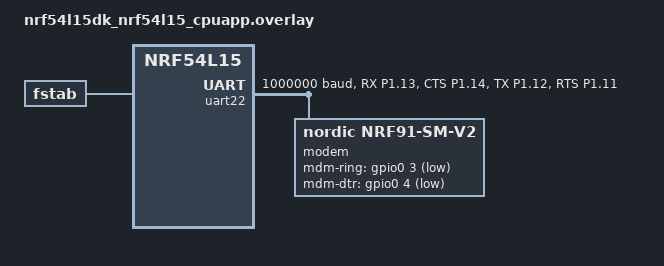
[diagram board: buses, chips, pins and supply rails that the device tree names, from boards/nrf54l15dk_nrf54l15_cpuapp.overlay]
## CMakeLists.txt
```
#
# Copyright (c) 2025 Nordic Semiconductor ASA
#
# SPDX-License-Identifier: LicenseRef-Nordic-5-Clause
#

cmake_minimum_required(VERSION 3.20.0)

find_package(Zephyr REQUIRED HINTS $ENV{ZEPHYR_BASE})
project(app)

target_sources(app PRIVATE
	src/main.c
	src/at_shell.c
	src/dl_shell.c
	src/periodic_http.c
	src/v2_power_profile.c
)
```

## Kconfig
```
# Copyright (c) 2026 Nordic Semiconductor ASA
# SPDX-License-Identifier: LicenseRef-Nordic-5-Clause

mainmenu "Serial Modem v2 periodic HTTP power test"

config HTTP_TEST_INTERVAL_SECONDS
	int "HTTP request start-to-start interval in seconds"
	range 1 86400
	default 60
	help
	  Time from the start of one request to the start of the next request.

choice HOST_POWER_PROFILE
	prompt "Initial host-controlled cellular power profile"
	default HOST_POWER_PROFILE_NONE

config HOST_POWER_PROFILE_NONE
	bool "Leave PSM and eDRX unchanged"
	help
	  Do not change PSM or eDRX at startup. The runtime power_profile shell
	  command remains available.

config HOST_POWER_PROFILE_REGISTERED
	bool "Registered with PSM and eDRX disabled"

config HOST_POWER_PROFILE_PSM
	bool "PSM requested with eDRX disabled"

config HOST_POWER_PROFILE_EDRX
	bool "eDRX requested with PSM disabled"

config HOST_POWER_PROFILE_PSM_EDRX
	bool "PSM and eDRX requested"

endchoice

config HOST_POWER_PROFILE_PSM_TAU
	string "Requested periodic TAU as a GPRS Timer 3 bit string"
	default "00100001"

config HOST_POWER_PROFILE_PSM_ACTIVE_TIME
	string "Requested Active-Time as a GPRS Timer 2 bit string"
	default "00000000"

config HOST_POWER_PROFILE_EDRX_ACT_TYPE
	int "eDRX access technology (4=LTE-M, 5=NB-IoT, 6=NTN NB-IoT)"
	range 4 6
	default 4

config HOST_POWER_PROFILE_EDRX_VALUE
	string "Requested four-bit eDRX value"
	default "0011"

source "Kconfig.zephyr"
```

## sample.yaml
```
sample:
  description: Serial Modem v2 PPP example with periodic HTTP and power-profile testing
  name: PPP shell and power test
tests:
  sample.sm_ppp_shell:
    sysbuild: true
    build_only: true
    platform_allow:
      - nrf54l15dk/nrf54l15/cpuapp
      - native_sim
    integration_platforms:
      - nrf54l15dk/nrf54l15/cpuapp
      - native_sim
```

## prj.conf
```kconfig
#
# Copyright (c) 2025 Nordic Semiconductor ASA
#
# SPDX-License-Identifier: LicenseRef-Nordic-5-Clause
#

# Networking
CONFIG_NETWORKING=y
CONFIG_NET_NATIVE=y
CONFIG_NET_L2_PPP=y
CONFIG_NET_L2_ETHERNET=n
CONFIG_NET_IPV4=y
CONFIG_NET_IPV6=y
CONFIG_NET_UDP=y
CONFIG_NET_TCP=y
CONFIG_NET_SOCKETS=y
CONFIG_NET_CONTEXT_RCVTIMEO=y
CONFIG_ZVFS_POLL_MAX=20
CONFIG_ZVFS_OPEN_MAX=20
CONFIG_POSIX_API=y
CONFIG_TEST_RANDOM_GENERATOR=y
CONFIG_NET_ZPERF=n
CONFIG_NET_PKT_RX_COUNT=40
CONFIG_NET_PKT_TX_COUNT=40
CONFIG_NET_BUF_RX_COUNT=80
CONFIG_NET_BUF_TX_COUNT=80
CONFIG_NET_BUF_DATA_SIZE=256

# DNS
CONFIG_DNS_RESOLVER=y
CONFIG_DNS_RESOLVER_MAX_SERVERS=4
CONFIG_NET_L2_PPP_OPTION_DNS_USE=y

# Network management
CONFIG_NET_MGMT=y
CONFIG_NET_MGMT_EVENT=y
CONFIG_NET_CONNECTION_MANAGER=y

# Modem driver
CONFIG_MODEM=y
CONFIG_MODEM_CELLULAR=y
CONFIG_PM_DEVICE=y
CONFIG_PM_DEVICE_RUNTIME=y
CONFIG_PM_DEVICE_RUNTIME_USE_DEDICATED_WQ=y

# Tune CMUX buffers
# MTU 127 and header size 6 means one full frame is 133 bytes
# Use 32 full CMUX frames for CMUX buffer and 4 frames for UART buffer
CONFIG_MODEM_CMUX_MTU=127
CONFIG_MODEM_CMUX_WORK_BUFFER_SIZE_EXTRA=4256
CONFIG_MODEM_CELLULAR_UART_BUFFER_SIZES=532
CONFIG_MODEM_CMUX_MSC_FC_THRESHOLD=127


# Serial Modem libraries
CONFIG_SM_XDFU_LIB=y
CONFIG_ZCBOR=y

# Shell utilities
CONFIG_SHELL=y
CONFIG_SHELL_WILDCARD=n
CONFIG_NET_SHELL=y
CONFIG_PM_DEVICE_SHELL=y
CONFIG_NET_MGMT_EVENT_MONITOR=y
CONFIG_NET_MGMT_EVENT_MONITOR_AUTO_START=y
CONFIG_SHELL_CMD_BUFF_SIZE=4096
# The xdfu shell command runs the full AT#XDFU chat-script/pipe-transfer
# sequence directly on the shell thread; the default stack is too small
# for that call depth and overflows.
CONFIG_SHELL_STACK_SIZE=4096
CONFIG_MODEM_CELLULAR_USER_PIPE_BUFFER_SIZES=4096
CONFIG_DOWNLOADER=y
CONFIG_DOWNLOADER_STACK_SIZE=2048

# Periodic HTTP requests from the Zephyr host.
CONFIG_HTTP_CLIENT=y
CONFIG_NET_SOCKETS_CONNECT_TIMEOUT=15000
CONFIG_NET_SOCKETS_DNS_TIMEOUT=5000
CONFIG_HTTP_TEST_INTERVAL_SECONDS=60

# Logging
CONFIG_LOG=y
CONFIG_MODEM_LOG_LEVEL_DBG=y
CONFIG_MODEM_CMUX_LOG_LEVEL_DBG=y
CONFIG_NET_SOCKETS_LOG_LEVEL_ERR=y

# Enable immediate logging to see the log messages with DFU
# Not recommended for production.
CONFIG_LOG_MODE_IMMEDIATE=y

# Additional logging for seeing URCs
#CONFIG_MODEM_MODULES_LOG_LEVEL_DBG=y
```

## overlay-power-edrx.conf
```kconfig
# Copyright (c) 2026 Nordic Semiconductor ASA
# SPDX-License-Identifier: LicenseRef-Nordic-5-Clause

CONFIG_HOST_POWER_PROFILE_EDRX=y
```

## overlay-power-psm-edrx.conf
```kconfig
# Copyright (c) 2026 Nordic Semiconductor ASA
# SPDX-License-Identifier: LicenseRef-Nordic-5-Clause

CONFIG_HOST_POWER_PROFILE_PSM_EDRX=y
```

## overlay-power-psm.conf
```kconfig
# Copyright (c) 2026 Nordic Semiconductor ASA
# SPDX-License-Identifier: LicenseRef-Nordic-5-Clause

CONFIG_HOST_POWER_PROFILE_PSM=y
```

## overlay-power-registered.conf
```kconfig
# Copyright (c) 2026 Nordic Semiconductor ASA
# SPDX-License-Identifier: LicenseRef-Nordic-5-Clause

CONFIG_HOST_POWER_PROFILE_REGISTERED=y
```

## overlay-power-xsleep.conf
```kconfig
# Host-only Serial Modem XSLEEP measurement profile.
CONFIG_HOST_POWER_PROFILE_XSLEEP=y
```

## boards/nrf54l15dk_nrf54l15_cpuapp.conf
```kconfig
#
# Copyright (c) 2025 Nordic Semiconductor ASA
#
# SPDX-License-Identifier: LicenseRef-Nordic-5-Clause
#

# Ensure the use of the DTS partitions
CONFIG_USE_DT_CODE_PARTITION=y

# Modem UART uses async API; shell UART uses interrupt-driven.
CONFIG_UART_ASYNC_API=y
CONFIG_MODEM_BACKEND_UART_ASYNC_HWFC=y
CONFIG_MODEM_BACKEND_UART_ISR=n
# uart22 = modem; must not be interrupt-driven so UART_22_ASYNC is unblocked.
CONFIG_UART_22_INTERRUPT_DRIVEN=n
CONFIG_SHELL_BACKEND_SERIAL_API_INTERRUPT_DRIVEN=y
CONFIG_SHELL_BACKEND_SERIAL_RX_RING_BUFFER_SIZE=4096

# For debugging purposes, enable GPIO shell commands.
CONFIG_GPIO=y
CONFIG_GPIO_SHELL=y

# Use LittleFS for file system support.
CONFIG_FLASH=y
CONFIG_FILE_SYSTEM=y
CONFIG_FILE_SYSTEM_SHELL=y
CONFIG_FILE_SYSTEM_LITTLEFS=y
CONFIG_FLASH_MAP=y
```

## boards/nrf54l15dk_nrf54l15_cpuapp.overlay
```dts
/*
 * Copyright (c) 2025 Nordic Semiconductor ASA
 *
 * SPDX-License-Identifier: LicenseRef-Nordic-5-Clause
 */


/*
 * See nRF54L15DK GPIO documentation from
 * https://docs.nordicsemi.com/bundle/ug_nrf54l15_dk/page/UG/nRF54L15_DK/hw_desription/connector_if.html
 *
 * UART22 is used for Serial Modem communication with the same pinout as the
 * OSS_ZEPHYR host application. UART20 remains routed to VCOM1 for console/shell.
 */

/ {
	chosen {
		/* Switch console to uart20 */
		zephyr,console = &uart20;
		zephyr,shell-uart = &uart20;
	};
	aliases {
		modem = &modem;
	};
};

&pinctrl {
	uart22_modem_default: uart22_modem_default {
		group1 {
			psels = <NRF_PSEL(UART_RX, 1, 13)>,
				<NRF_PSEL(UART_CTS, 1, 14)>;
			bias-pull-up;
		};

		group2 {
			psels = <NRF_PSEL(UART_TX, 1, 12)>,
				<NRF_PSEL(UART_RTS, 1, 11)>;
		};
	};

	uart22_modem_sleep: uart22_modem_sleep {
		group1 {
			psels = <NRF_PSEL(UART_TX, 1, 12)>,
				<NRF_PSEL(UART_RX, 1, 13)>,
				<NRF_PSEL(UART_RTS, 1, 11)>,
				<NRF_PSEL(UART_CTS, 1, 14)>;
			low-power-enable;
		};
	};
};

/* These board resources conflict with the OSS_ZEPHYR modem wiring. */
&button0 {
	status = "disabled";
};

&button3 {
	status = "disabled";
};

&led3 {
	status = "disabled";
};

&uart30 {
	status = "disabled";
};

/* Zephyr modem UART <-> nRF91 Serial Modem UART */
&uart22 {
	status = "okay";
	current-speed = <1000000>;
	hw-flow-control;
	pinctrl-0 = <&uart22_modem_default>;
	pinctrl-1 = <&uart22_modem_sleep>;
	pinctrl-names = "default", "sleep";
	zephyr,pm-device-runtime-auto;

	/* Nordic nRF91 Serial Modem configuration */
	modem: modem {
		compatible = "nordic,nrf91-sm-v2";
		status = "okay";
		mdm-ring-gpios = <&gpio0 3 (GPIO_ACTIVE_LOW | GPIO_PULL_UP)>;
		mdm-dtr-gpios = <&gpio0 4 GPIO_ACTIVE_LOW>;
		zephyr,pm-device-runtime-auto;
		cmux-enable-runtime-power-save;
		cmux-close-pipe-on-power-save;
		cmux-idle-timeout-ms = <5000>;
		autostarts;
	};
};

&gpio0 {
	status = "okay";
};

/* Using default SRAM partitions from nrf54l15_cpuapp_partition.dtsi */

/*
 * RRAM partition layout for nRF54L15 DK (disable MCUboot)
 *
 * 0x0000_0000  slot0 (primary app)          (1492 kB)
 * 0x0017_5000  Non-secure storage           ( 32 kB)
 */

/delete-node/ &boot_partition;
/delete-node/ &slot0_partition;
/delete-node/ &slot1_partition;
/delete-node/ &storage_partition;

&cpuapp_rram {
	partitions {
		slot0_partition: partition@0 {
			compatible = "zephyr,mapped-partition";
			label = "image-0";
			reg = <0x0 DT_SIZE_K(1492)>;
		};

		storage_partition: partition@175000 {
			compatible = "zephyr,mapped-partition";
			label = "storage";
			reg = <0x000175000 DT_SIZE_K(32)>;
		};
	};
};

/*
 * Use external flash for littlefs storage.
 */
/ {
	fstab {
		compatible = "zephyr,fstab";

		lfs: lfs {
			compatible = "zephyr,fstab,littlefs";
			mount-point = "/lfs";
			partition = <&lfs_part>;
			automount;
			read-size = <16>;
			prog-size = <16>;
			cache-size = <64>;
			lookahead-size = <32>;
			block-cycles = <512>;
		};
	};
};

&mx25r64 {
	partitions {
		compatible = "fixed-partitions";
		#address-cells = <1>;
		#size-cells = <1>;

		lfs_part: partition@0 {
			label = "littlefs";
			reg = <0x00000000 DT_SIZE_M(8)>;
		};
	};
};
```

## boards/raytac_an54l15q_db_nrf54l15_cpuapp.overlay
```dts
/*
 * Copyright (c) 2025 Nordic Semiconductor ASA
 *
 * SPDX-License-Identifier: LicenseRef-Nordic-5-Clause
 */


/*
 * See nRF54L15DK GPIO documentation from
 * https://docs.nordicsemi.com/bundle/ug_nrf54l15_dk/page/UG/nRF54L15_DK/hw_desription/connector_if.html
 *
 * UART0 is used for Serial Modem communication and UART1 is used for console/shell.
 *
 * Note: Disable VCOM0 from Board Configurator to release UART0 for Serial Modem.
 *
 * UART0 located on the P0 connector is the "uart30" instance in the device tree.
 * UART1 is "uart20" in the device tree and it is routed to the VCOM1 on the interface chip.
 * RI and DTR signals are located on P1 connector.
 */

/ {
	chosen {
		/* Switch console to uart20 */
		zephyr,console = &uart20;
		zephyr,shell-uart = &uart20;
		ncs,sm-uart = &uart30;
	};

	dte_dtr: dte_dtr {
		compatible = "nordic,dte-dtr";
		dtr-gpios = <&gpio1 11 GPIO_ACTIVE_LOW>;
		ri-gpios = <&gpio1 12 (GPIO_ACTIVE_LOW | GPIO_PULL_UP)>;
	};
};

/* Zephyr modem UART <-> nRF91 Serial Modem UART */
&uart30 {
	status = "okay";
	current-speed = <115200>;
	hw-flow-control;
	zephyr,pm-device-runtime-auto;

	/* Nordic nRF91 Serial Modem configuration */
	modem: modem {
		compatible = "nordic,nrf91-slm";
		status = "okay";
		mdm-ring-gpios = <&gpio1 12 (GPIO_ACTIVE_LOW | GPIO_PULL_UP)>;
		mdm-dtr-gpios = <&gpio1 11 GPIO_ACTIVE_LOW>;
		zephyr,pm-device-runtime-auto;
		cmux-enable-runtime-power-save;
		cmux-close-pipe-on-power-save;
		cmux-idle-timeout-ms = <5000>;
	};
};

&gpio1 {
	status = "okay";
};
```

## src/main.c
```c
/*
 * Copyright (c) 2025 Nordic Semiconductor ASA
 *
 * SPDX-License-Identifier: LicenseRef-Nordic-5-Clause
 */
#include <errno.h>
#include <time.h>
#include <zephyr/kernel.h>
#include <zephyr/logging/log.h>
#include <zephyr/net/http/client.h>
#include <zephyr/net/net_if.h>
#include <zephyr/net/ppp.h>
#include <zephyr/net/sntp.h>
#include <zephyr/net/socket.h>
#include <zephyr/net/tls_credentials.h>
#include "httpbin_ca.h"
#include "host_power_profile.h"

LOG_MODULE_REGISTER(https_test, LOG_LEVEL_INF);

#define HOST "httpbin.org"
#define CA_TAG 42
#define IO_TIMEOUT_MS 15000
#define SNTP_TIMEOUT_MS 5000
#define MODEM_BOOT_DELAY_SECONDS 2
#define PPP_START_TIMEOUT_SECONDS 180
#define PPP_RESTART_DELAY_SECONDS 2

struct request_result {
	size_t bytes;
	uint16_t status;
	bool complete;
};

static uint8_t response_buffer[1024];

static bool connected(struct net_if *iface)
{
	return net_if_is_up(iface) && net_if_is_carrier_ok(iface) &&
	       net_if_ipv4_get_global_addr(iface, NET_ADDR_PREFERRED) != NULL;
}

static int response_cb(struct http_response *rsp, enum http_final_call final,
		       void *user_data)
{
	struct request_result *result = user_data;

	result->status = rsp->http_status_code;
	result->bytes += rsp->body_frag_len;
	result->complete = final == HTTP_DATA_FINAL && rsp->message_complete;
	return 0;
}

static int synchronize_time(void)
{
	struct sntp_time now;
	struct zsock_addrinfo hints = {
		.ai_family = AF_INET, .ai_socktype = SOCK_DGRAM,
	};
	struct zsock_addrinfo *address = NULL;
	int ret = zsock_getaddrinfo("time.google.com", "123", &hints, &address);

	if (ret != 0) {
		return -EHOSTUNREACH;
	}
	ret = sntp_simple_addr(address->ai_addr, address->ai_addrlen,
			       SNTP_TIMEOUT_MS, &now);
	zsock_freeaddrinfo(address);

	if (ret < 0) {
		return ret;
	}
	struct timespec ts = {.tv_sec = now.seconds, .tv_nsec = 0};

	if (clock_settime(CLOCK_REALTIME, &ts) < 0) {
		return -errno;
	}
	LOG_INF("Time synchronized; certificate date checking enabled");
	return 0;
}

static int request_once(struct request_result *result)
{
	struct zsock_addrinfo hints = {
		.ai_family = AF_INET, .ai_socktype = SOCK_STREAM,
	};
	struct zsock_addrinfo *addresses = NULL;
	const sec_tag_t tags[] = {CA_TAG};
	const char *headers[] = {"Connection: close\r\n", "Accept: application/json\r\n", NULL};
	struct zsock_timeval timeout = {.tv_sec = IO_TIMEOUT_MS / 1000};
	int verify = TLS_PEER_VERIFY_REQUIRED;
	int ret = zsock_getaddrinfo(HOST, "443", &hints, &addresses);
	int fd = -1;

	if (ret != 0) {
		LOG_WRN("DNS lookup failed: %d", ret);
		return -EHOSTUNREACH;
	}
	fd = zsock_socket(AF_INET, SOCK_STREAM, IPPROTO_TLS_1_2);
	if (fd < 0) {
		ret = -errno;
		goto out;
	}
	if (zsock_setsockopt(fd, SOL_TLS, TLS_SEC_TAG_LIST, tags, sizeof(tags)) < 0 ||
		zsock_setsockopt(fd, SOL_TLS, TLS_HOSTNAME, HOST, sizeof(HOST) - 1) < 0 ||
		zsock_setsockopt(fd, SOL_TLS, TLS_PEER_VERIFY, &verify, sizeof(verify)) < 0 ||
		zsock_setsockopt(fd, SOL_SOCKET, SO_SNDTIMEO, &timeout, sizeof(timeout)) < 0 ||
		zsock_setsockopt(fd, SOL_SOCKET, SO_RCVTIMEO, &timeout, sizeof(timeout)) < 0) {
		ret = -errno;
		goto out;
	}
	if (zsock_connect(fd, addresses->ai_addr, addresses->ai_addrlen) < 0) {
		ret = -errno;
		LOG_WRN("TCP/TLS connection failed: %d", ret);
		goto out;
	}
	struct http_request req = {
		.method = HTTP_GET, .url = "/get", .host = HOST,
		.protocol = "HTTP/1.1", .header_fields = headers,
		.response = response_cb, .recv_buf = response_buffer,
		.recv_buf_len = sizeof(response_buffer),
	};

	ret = http_client_req(fd, &req, IO_TIMEOUT_MS, result);
	if (ret >= 0) {
		ret = result->status == 200 && result->complete ? 0 : -EBADMSG;
	}
out:
	if (fd >= 0) {
		zsock_close(fd);
	}
	zsock_freeaddrinfo(addresses);
	return ret;
}

static int start_ppp(struct net_if *iface)
{
	int ret = net_if_up(iface);

	if (ret < 0 && ret != -EALREADY) {
		LOG_ERR("Cannot start PPP: %d", ret);
		return ret;
	}

	return 0;
}

static int restart_ppp(struct net_if *iface)
{
	int ret;

	LOG_WRN("PPP has no IPv4 after %d seconds; restarting interface",
		PPP_START_TIMEOUT_SECONDS);
	ret = net_if_down(iface);
	if (ret < 0 && ret != -EALREADY) {
		LOG_WRN("Cannot stop PPP for recovery: %d", ret);
	}
	k_sleep(K_SECONDS(PPP_RESTART_DELAY_SECONDS));
	return start_ppp(iface);
}

static int sleep_until_next_cycle(struct net_if *iface, int64_t deadline)
{
	int ret = net_if_down(iface);

	if (ret < 0 && ret != -EALREADY) {
		LOG_ERR("Cannot suspend PPP for XSLEEP: %d", ret);
		return ret;
	}

	LOG_INF("PPP suspended; host shutdown script requested");
	while (true) {
		int64_t remaining = deadline - k_uptime_get();

		if (remaining <= 0) {
			break;
		}
		k_sleep(K_MSEC(MIN(remaining, 1000)));
	}

	LOG_INF("Sleep deadline reached; resuming PPP and waking Serial Modem with DTR");
	return start_ppp(iface);
}

static void https_worker(void *a, void *b, void *c)
{
	ARG_UNUSED(a);
	ARG_UNUSED(b);
	ARG_UNUSED(c);
	struct net_if *iface = net_if_get_first_by_type(&NET_L2_GET_NAME(PPP));
	const int64_t interval = (int64_t)CONFIG_HTTPS_TEST_INTERVAL_SECONDS * 1000;
	bool time_ready = false;
	const bool sleep_between_cycles =
		host_power_profile_suspends_between_cycles();
	uint32_t cycle = 0;
	int64_t next = 0;
	int64_t ppp_started;
	int ret;

	if (iface == NULL) {
		LOG_ERR("No PPP interface: check the board modem overlay");
		return;
	}
	ret = tls_credential_add(CA_TAG, TLS_CREDENTIAL_CA_CERTIFICATE,
							 httpbin_ca, sizeof(httpbin_ca));
	if (ret < 0) {
		LOG_ERR("Cannot install CA certificate: %d", ret);
		return;
	}
	net_if_set_default(iface);
	/* On simultaneous board power-up, let Serial Modem advertise Ready before
	 * the cellular driver sends its first AT command. */
	k_sleep(K_SECONDS(MODEM_BOOT_DELAY_SECONDS));
	ret = host_power_profile_apply(iface);
	if (ret < 0) {
		LOG_ERR("Cannot apply host power profile: %d", ret);
		return;
	}
	ret = start_ppp(iface);
	if (ret < 0) {
		return;
	}
	ppp_started = k_uptime_get();
	LOG_INF("Waiting for PPP IPv4; GET https://" HOST "/get every %d seconds",
			CONFIG_HTTPS_TEST_INTERVAL_SECONDS);
	while (true) {
		if (!connected(iface)) {
			if (!sleep_between_cycles) {
				next = 0;
			}
			if (k_uptime_get() - ppp_started >=
			    PPP_START_TIMEOUT_SECONDS * MSEC_PER_SEC) {
				if (sleep_between_cycles) {
					LOG_WRN("PPP still has no IPv4 after %d seconds; "
						"XSLEEP profile continues waiting",
						PPP_START_TIMEOUT_SECONDS);
					ppp_started = k_uptime_get();
				} else {
					ret = restart_ppp(iface);
					if (ret < 0) {
						return;
					}
					ppp_started = k_uptime_get();
				}
			}
			k_sleep(K_SECONDS(1));
			continue;
		}
		/* A later disconnect gets a fresh recovery window. */
		ppp_started = k_uptime_get();
		host_power_profile_network_lock();
		if (!connected(iface)) {
			host_power_profile_network_unlock();
			continue;
		}
		if (!time_ready) {
			ret = synchronize_time();
			if (ret < 0) {
				host_power_profile_network_unlock();
				LOG_WRN("Time sync failed: %d; retry in 10 seconds", ret);
				k_sleep(K_SECONDS(10));
				continue;
			}
			time_ready = true;
		}
		int64_t now = k_uptime_get();

		if (next == 0) {
			next = now;
		}
		if (now < next) {
			host_power_profile_network_unlock();
			k_sleep(K_MSEC(MIN(next - now, 1000)));
			continue;
		}
		struct request_result result = {0};
		int64_t start = k_uptime_get();

		LOG_INF("cycle=%u start", ++cycle);
		ret = request_once(&result);
		LOG_INF("cycle=%u %s status=%u bytes=%u complete=%u duration_ms=%lld error=%d",
				cycle, ret == 0 ? "SUCCESS" : "FAIL", result.status,
				(unsigned int)result.bytes, result.complete,
				(long long)(k_uptime_get() - start), ret);
		host_power_profile_network_unlock();
		next += interval;
		now = k_uptime_get();
		if (next <= now) {
			int64_t skipped = (now - next) / interval + 1;

			next += skipped * interval;
			LOG_WRN("cycle=%u skipped_intervals=%lld", cycle, (long long)skipped);
		}
		if (sleep_between_cycles) {
			ret = sleep_until_next_cycle(iface, next);
			if (ret < 0) {
				return;
			}
			ppp_started = k_uptime_get();
		}
	}
}

K_THREAD_DEFINE(https_thread, 8192, https_worker, NULL, NULL, NULL, 7, 0, 0);

int main(void)
{
	return 0;
}
```

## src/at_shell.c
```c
/*
 * Copyright (c) 2026 Nordic Semiconductor ASA
 *
 * SPDX-License-Identifier: LicenseRef-Nordic-5-Clause
 */
#include <stdio.h>
#include <stdlib.h>
#include <strings.h>
#include <zephyr/shell/shell.h>
#include <zephyr/modem/chat.h>
#include <zephyr/modem/pipe.h>
#include <zephyr/drivers/modem/modem_cellular.h>
#include <zephyr/pm/device_runtime.h>


#define AT_SHELL_HELP "\tat <command>\n" \
		      "\tat --keep-open\n" \
		      "\tat --close\n" \
		      "\tFor AT%%CMNG=0, use \\n in place of line breaks in multi-line content."

/* Command prefix that supports multi-line content (e.g. certificates). */
#define CREDENTIALS_CMD "AT%CMNG=0"

struct at_shell_chat_instance {
	struct modem_chat chat;
	uint8_t chat_receive_buf[1024];
	uint8_t *chat_argv_buf[3];
	bool pipe_was_open;
	struct modem_pipe *pipe;
	const struct shell *sh;
};

static struct at_shell_chat_instance *active_at_instance;
static const struct device *modem = DEVICE_DT_GET_ONE(nordic_nrf91_sm_v2);

static void chat_callback(struct modem_chat *chat, char **argv, uint16_t argc, void *user_data);

MODEM_CHAT_MATCH_DEFINE(ok_match, "OK", "", NULL);
/* We can only match responses that are longer than 3 characters, so it does not
 * eat "OK". All others need to be handled in chat_callback().
 */
MODEM_CHAT_MATCH_WILDCARD_DEFINE(all_match, "???", "", chat_callback);

/* Helper copied from Serial Modem's sm_util.h */
#define Z_MODEM_PIPE_EVENT_OPENED_BIT BIT(0)

static inline bool sm_pipe_is_open(struct modem_pipe *pipe)
{
	return k_event_test(&pipe->event, Z_MODEM_PIPE_EVENT_OPENED_BIT) ==
	       Z_MODEM_PIPE_EVENT_OPENED_BIT;
}

static struct at_shell_chat_instance *at_shell_init_chat(const struct shell *sh)
{
	struct at_shell_chat_instance *instance =
		(struct at_shell_chat_instance *)malloc(sizeof(struct at_shell_chat_instance));

	if (instance == NULL) {
		shell_error(sh, "Failed to allocate chat buffers");
		return NULL;
	}

	*instance = (struct at_shell_chat_instance){
		.sh = sh,
	};

	const struct modem_chat_config at_shell_chat_config = {
		.receive_buf = instance->chat_receive_buf,
		.receive_buf_size = sizeof(instance->chat_receive_buf),
		.delimiter = "\r",
		.delimiter_size = sizeof("\r") - 1,
		.filter = "\n",
		.filter_size = sizeof("\n") - 1,
		.argv = instance->chat_argv_buf,
		.argv_size = ARRAY_SIZE(instance->chat_argv_buf),
		.unsol_matches = &all_match,
		.unsol_matches_size = 1,
		.user_data = (void *)instance,
	};

	modem_chat_init(&instance->chat, &at_shell_chat_config);
	return instance;
}

static void at_shell_release_chat(struct at_shell_chat_instance *instance)
{
	modem_chat_release(&instance->chat);
	free(instance);
}

static void chat_callback(struct modem_chat *chat, char **argv, uint16_t argc, void *user_data)
{
	struct at_shell_chat_instance *instance = (struct at_shell_chat_instance *)user_data;
	const struct shell *sh = instance->sh;
	char *s;
	size_t len = 0;

	/* Because we use "???" wildcard match, we need to concatenate all arguments so we can
	 * properly match reponses because the parameteres for "ERROR" would like:
	 * argv[0] = "ERR"
	 * argv[1] = "OR"
	 */
	for (uint16_t i = 0; i < argc; i++) {
		len += strlen(argv[i]);
	}

	s = (char *)calloc(1, len + 1);
	if (s == NULL) {
		shell_error(sh, "out of mem");
		return;
	}
	for (uint16_t i = 0; i < argc; i++) {
		strcat(s, argv[i]);
}

	shell_print(sh, "%s", s);

	/* We need to handle typical error matches here */
	if (strstr(s, "ERROR") != NULL ||
	    strstr(s, "BUSY") != NULL ||
	    strstr(s, "NO CARRIER") != NULL) {
		modem_chat_script_abort(chat);
	}
	free(s);
}

static int chat_cmd(struct modem_chat *chat, const char *cmd)
{
	struct modem_chat_script_chat cmd_s = {
		.request = cmd,
		.request_size = strlen(cmd),
		.response_matches = &ok_match,
		.response_matches_size = 1,
		.timeout = 1000,
	};

	struct modem_chat_script script = {
		.name = "chat_cmd",
		.script_chats = &cmd_s,
		.script_chats_size = 1,
		.callback = NULL,
		.timeout = 10,
	};

	return modem_chat_run_script(chat, &script);
}

static struct modem_pipe *at_shell_get_user_pipe(const struct shell *sh)
{
	struct modem_cellular_config *config = (struct modem_cellular_config *)modem->config;

	if (config->user_pipes_size == 0) {
		shell_error(sh, "No user pipes configured");
		return NULL;
	}
	for (int i = 0; i < config->user_pipes_size; i++) {
		struct modem_cellular_user_pipe *user_pipe = &config->user_pipes[i];
		/* A pipelink callback tracks CMUX connection changes; ownership of
		 * the actual user pipe is represented by its pipe callback.
		 */
		if (user_pipe->pipe != NULL && user_pipe->pipe->callback == NULL) {
			shell_info(sh, "Attach to DLC %hhu", user_pipe->dlci_address);
			return user_pipe->pipe;
		}
	}

	shell_error(sh, "Cannot find user pipe");
	return NULL;
}

/*
 * Return any modem pipe that can be used to send AT commands to the modem.
 * When modem is not active, return the modem's UART pipe.
 * When modem is active, return first user pipe that is available, or NULL if none are available.
 */
static struct modem_pipe *at_shell_get_pipe(const struct shell *sh)
{
	struct modem_cellular_config *config = (struct modem_cellular_config *)modem->config;
	struct modem_cellular_data *data = (struct modem_cellular_data *)modem->data;

	/* Check if modem is currently in use */
	int cnt = pm_device_runtime_usage(modem);

	if (cnt > 0) {
		return at_shell_get_user_pipe(sh);
	}

	/* Ensure that UART is free */
	if (!device_is_ready(config->uart)) {
		shell_error(sh, "UART is not ready");
		return NULL;
	}

	cnt = pm_device_runtime_usage(config->uart);
	if (cnt > 0) {
		shell_error(sh, "UART is in use, cannot run AT command");
		return NULL;
	}

	shell_info(sh, "Attach to modem UART");
	return data->uart_pipe;
}

/* Check if pipe is still attached to our chat instance */
static bool at_shell_is_attached(struct at_shell_chat_instance *instance)
{
	struct modem_pipe *pipe = instance->pipe;

	if (pipe == NULL) {
		return false;
	}
	if (pipe->callback == NULL) {
		return false;
	}
	if (instance->chat.pipe != pipe) {
		return false;
	}
	if (pipe->user_data != &instance->chat) {
		return false;
	}
	return sm_pipe_is_open(pipe);
}

static int open_and_attach(struct at_shell_chat_instance *instance, struct modem_pipe *pipe)
{
	int ret;

	instance->pipe = pipe;
	instance->pipe_was_open = sm_pipe_is_open(pipe);

	modem_pipe_release(pipe);
	ret = modem_pipe_open(pipe, K_SECONDS(1));
	if (ret < 0) {
		instance->pipe = NULL;
		shell_error(instance->sh, "Failed to open pipe: %d", ret);
		return ret;
	}

	modem_chat_attach(&instance->chat, pipe);

	return 0;
}

static int cmd_at(const struct shell *sh, size_t argc, char **argv)
{
	struct modem_pipe *pipe = NULL;
	bool keep_open = false;
	int ret = 0;

	if (argc < 2 || strcmp(argv[1], "-h") == 0) {
		shell_error(sh, "Usage:\n" AT_SHELL_HELP);
		return -EINVAL;
	}

	if (!device_is_ready(modem)) {
		shell_error(sh, "Modem is not ready");
		return -ENODEV;
	}

	if (!active_at_instance) {
		pipe = at_shell_get_pipe(sh);

		if (pipe == NULL) {
			return -ENODEV;
		}

		active_at_instance = at_shell_init_chat(sh);

		if (active_at_instance == NULL) {
			return -ENOMEM;
		}
		ret = open_and_attach(active_at_instance, pipe);
		if (ret < 0) {
			goto release_chat;
	}
	} else if (!at_shell_is_attached(active_at_instance)) {
		shell_warn(sh, "Pipe is not attached to the active chat instance, switching.");
		pipe = at_shell_get_pipe(sh);
		if (pipe == NULL) {
			shell_error(sh, "Failed to get a new pipe");
			ret = -ENODEV;
			goto release_chat;
		}
		ret = open_and_attach(active_at_instance, pipe);
		if (ret < 0) {
			/* Don't close the unattached pipe */
			pipe = NULL;
			goto release_chat;
		}
		keep_open = true;
	} else {
		pipe = active_at_instance->pipe;
		keep_open = true;
	}

	if (strcmp(argv[1], "--keep-open") == 0) {
		return 0;
	}

	if (strcmp(argv[1], "--close") == 0) {
		keep_open = false;
		goto release_chat;
	}

	modem_chat_attach(&active_at_instance->chat, pipe);

	/* For the AT%CMNG command, convert literal "\n" to CR LF to allow
	 * writing of multi-line certificates as a single shell argument.
	 */
	if (strncasecmp(argv[1], CREDENTIALS_CMD, strlen(CREDENTIALS_CMD)) == 0) {
		char *c = argv[1];

		while ((c = strstr(c, "\\n")) != NULL) {
			c[0] = '\r';
			c[1] = '\n';
		}
	}

	ret = chat_cmd(&active_at_instance->chat, argv[1]);
	if (ret < 0) {
		shell_error(sh, "Failed to run AT command: %d", ret);
	} else {
		shell_print(sh, "OK");
	}

release_chat:
	bool pipe_was_open = active_at_instance->pipe_was_open;

	if (!keep_open) {
		at_shell_release_chat(active_at_instance);
		active_at_instance = NULL;
	}

	if (!keep_open && !pipe_was_open && pipe) {
		modem_pipe_close(pipe, K_SECONDS(1));
	}
	return ret;
}
SHELL_CMD_ARG_REGISTER(at, NULL, "Execute AT command\n" AT_SHELL_HELP, cmd_at, 2, 0);

#ifndef CONFIG_MODEM_AT_SHELL

/* If modem AT shell is not enabled, provide a wrapper for the "modem at" */
static int cmd_modem_at(const struct shell *sh, size_t argc, char **argv)
{
	if (argc < 3 || strcmp(argv[1], "at") != 0) {
		shell_error(sh, "Usage: modem at <command>");
		return -EINVAL;
	}
	return cmd_at(sh, argc - 1, &argv[1]);
}
SHELL_CMD_ARG_REGISTER(modem, NULL, "modem at <AT command>", cmd_modem_at, 3, 0);

#endif
```

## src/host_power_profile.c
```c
/*
 * Copyright (c) 2026 Nordic Semiconductor ASA
 *
 * SPDX-License-Identifier: LicenseRef-Nordic-5-Clause
 */

#include <errno.h>
#include <string.h>
#include <zephyr/device.h>
#include <zephyr/kernel.h>
#include <zephyr/logging/log.h>
#include <zephyr/net/net_if.h>
#include <zephyr/net/ppp.h>
#include <zephyr/pm/device.h>
#include <zephyr/shell/shell.h>

#include <sm_at_client.h>

#include "host_power_profile.h"

LOG_MODULE_REGISTER(host_power_profile, LOG_LEVEL_INF);

#define COMMAND_TIMEOUT_SECONDS 10
#define HANDOFF_TIMEOUT_SECONDS 35
#define RESPONSE_BUFFER_SIZE 192

/* Supplied by patches/ncs-v3.2.1-nrf91-slm-uart-handoff.patch. */
extern int modem_cellular_uart_handoff_begin(const struct device *dev);
extern int modem_cellular_uart_handoff_end(const struct device *dev);

enum power_profile {
	POWER_PROFILE_UNCHANGED,
	POWER_PROFILE_REGISTERED,
	POWER_PROFILE_PSM,
	POWER_PROFILE_EDRX,
	POWER_PROFILE_PSM_EDRX,
};

static const struct device *const modem_dev = DEVICE_DT_GET(DT_NODELABEL(modem));
static K_SEM_DEFINE(response_complete, 0, 1);
static K_MUTEX_DEFINE(network_mutex);
static char response[RESPONSE_BUFFER_SIZE];
static size_t response_length;
static bool capture_response;
static enum power_profile active_profile = POWER_PROFILE_UNCHANGED;

static const char *profile_name(enum power_profile profile)
{
	switch (profile) {
	case POWER_PROFILE_REGISTERED:
		return "registered";
	case POWER_PROFILE_PSM:
		return "psm";
	case POWER_PROFILE_EDRX:
		return "edrx";
	case POWER_PROFILE_PSM_EDRX:
		return "psm_edrx";
	default:
		return "unchanged";
	}
}

static void response_handler(const uint8_t *data, size_t length)
{
	if (!capture_response) {
		return;
	}

	size_t available = sizeof(response) - 1 - response_length;
	size_t copied = MIN(length, available);

	memcpy(response + response_length, data, copied);
	response_length += copied;
	response[response_length] = '\0';

	if (strstr(response, "\r\nOK\r\n") != NULL ||
	    strstr(response, "\r\nERROR\r\n") != NULL ||
	    strstr(response, "\r\n+CME ERROR:") != NULL ||
	    strstr(response, "\r\n+CMS ERROR:") != NULL) {
		k_sem_give(&response_complete);
	}
}

static int command_send(const char *command)
{
	int ret;

	capture_response = false;
	response_length = 0;
	response[0] = '\0';
	k_sem_reset(&response_complete);
	capture_response = true;

	ret = sm_at_client_send_cmd(command, COMMAND_TIMEOUT_SECONDS);
	if (ret != AT_CMD_OK) {
		capture_response = false;
		LOG_ERR("%s failed: %d", command, ret);
		return ret < 0 ? ret : -EIO;
	}

	ret = k_sem_take(&response_complete, K_SECONDS(1));
	capture_response = false;
	if (ret < 0) {
		LOG_ERR("Did not capture complete response to %s", command);
	}

	return ret;
}

static int response_require(const char *description, const char *value)
{
	if (strstr(response, value) == NULL) {
		LOG_ERR("%s verification failed: %s", description, response);
		return -EIO;
	}

	return 0;
}

static int edrx_disable_and_verify(void)
{
	int ret = command_send("AT+CEDRXS=0");

	if (ret < 0) {
		return ret;
	}
	ret = command_send("AT+CEDRXS?");
	if (ret < 0) {
		return ret;
	}
	if (strstr(response, "+CEDRXS:") != NULL) {
		LOG_ERR("eDRX remains configured: %s", response);
		return -EIO;
	}

	return 0;
}

static int edrx_enable_and_verify(void)
{
	char command[40];
	int ret;

	snprintk(command, sizeof(command), "AT+CEDRXS=2,%d,\"%s\"",
		 CONFIG_HOST_POWER_PROFILE_EDRX_ACT_TYPE,
		 CONFIG_HOST_POWER_PROFILE_EDRX_VALUE);
	ret = command_send(command);
	if (ret < 0) {
		return ret;
	}
	ret = command_send("AT+CEDRXS?");
	if (ret < 0) {
		return ret;
	}
	ret = response_require("eDRX enabled", "+CEDRXS:");
	if (ret == 0) {
		ret = response_require("requested eDRX value",
				       CONFIG_HOST_POWER_PROFILE_EDRX_VALUE);
	}

	return ret;
}

static int profile_configure(enum power_profile profile)
{
	bool psm_enabled = profile == POWER_PROFILE_PSM ||
			   profile == POWER_PROFILE_PSM_EDRX;
	bool edrx_enabled = profile == POWER_PROFILE_EDRX ||
			    profile == POWER_PROFILE_PSM_EDRX;
	int ret = command_send("AT+CFUN=4");

	if (ret < 0) {
		return ret;
	}

	if (!psm_enabled) {
		ret = command_send("AT+CPSMS=0");
	} else {
		char command[64];

		snprintk(command, sizeof(command), "AT+CPSMS=1,,,\"%s\",\"%s\"",
			 CONFIG_HOST_POWER_PROFILE_PSM_TAU,
			 CONFIG_HOST_POWER_PROFILE_PSM_ACTIVE_TIME);
		ret = command_send(command);
	}
	if (ret < 0) {
		return ret;
	}

	ret = edrx_enabled ? edrx_enable_and_verify() : edrx_disable_and_verify();
	if (ret < 0) {
		return ret;
	}
	ret = command_send("AT+CPSMS?");
	if (ret < 0) {
		return ret;
	}

	if (!psm_enabled) {
		ret = response_require("PSM disabled", "+CPSMS: 0");
	} else {
		ret = response_require("PSM enabled", "+CPSMS: 1");
		if (ret == 0) {
			ret = response_require("requested periodic TAU",
					       CONFIG_HOST_POWER_PROFILE_PSM_TAU);
		}
		if (ret == 0) {
			ret = response_require("requested Active-Time",
					       CONFIG_HOST_POWER_PROFILE_PSM_ACTIVE_TIME);
		}
	}

	return ret;
}

static int wait_for_modem_suspended(void)
{
	int64_t deadline = k_uptime_get() + HANDOFF_TIMEOUT_SECONDS * MSEC_PER_SEC;

	while (k_uptime_get() < deadline) {
		enum pm_device_state state;
		int ret = pm_device_state_get(modem_dev, &state);

		if (ret < 0) {
			return ret;
		}
		if (state == PM_DEVICE_STATE_SUSPENDED) {
			return 0;
		}
		k_sleep(K_MSEC(20));
	}

	return -ETIMEDOUT;
}

static int profile_change(struct net_if *iface, enum power_profile profile, bool reconnect)
{
	bool handed_off = false;
	bool at_client_initialized = false;
	int first_error = 0;
	int ret;

	if (!device_is_ready(modem_dev)) {
		return -ENODEV;
	}

	k_mutex_lock(&network_mutex, K_FOREVER);

	ret = net_if_down(iface);
	if (ret < 0 && ret != -EALREADY) {
		first_error = ret;
		goto out;
	}

	ret = wait_for_modem_suspended();
	if (ret < 0) {
		LOG_ERR("Cellular driver did not suspend: %d", ret);
		first_error = ret;
		goto out;
	}

	ret = modem_cellular_uart_handoff_begin(modem_dev);
	if (ret < 0) {
		LOG_ERR("Cannot release cellular-driver UART backend: %d", ret);
		first_error = ret;
		goto out;
	}
	handed_off = true;

	/* Give Serial Modem time to finish leaving CMUX and return to raw AT. */
	k_sleep(K_MSEC(100));
	ret = sm_at_client_init(response_handler, false, K_NO_WAIT);
	if (ret < 0) {
		LOG_ERR("Cannot initialize temporary AT client: %d", ret);
		first_error = ret;
		goto out;
	}
	at_client_initialized = true;

	ret = command_send("AT");
	if (ret == 0) {
		ret = profile_configure(profile);
	}
	if (ret < 0) {
		first_error = ret;
	} else {
		active_profile = profile;
		LOG_INF("Runtime power profile applied: %s", profile_name(profile));
	}

out:
	if (at_client_initialized) {
		ret = sm_at_client_uninit();
		if (ret < 0 && first_error == 0) {
			first_error = ret;
		}
	}
	if (handed_off) {
		ret = modem_cellular_uart_handoff_end(modem_dev);
		if (ret < 0) {
			LOG_ERR("Cannot restore cellular-driver UART backend: %d", ret);
			if (first_error == 0) {
				first_error = ret;
			}
			reconnect = false;
		}
	}

	/* Even a failed command may have reached CFUN=4. Reconnect after the UART
	 * backend is restored so the normal dial script returns to CFUN=1. */
	if (reconnect) {
		ret = net_if_up(iface);
		if (ret < 0 && ret != -EALREADY && first_error == 0) {
			first_error = ret;
		}
	}

	k_mutex_unlock(&network_mutex);
	return first_error;
}

int host_power_profile_apply(struct net_if *iface)
{
#if defined(CONFIG_HOST_POWER_PROFILE_REGISTERED) || defined(CONFIG_HOST_POWER_PROFILE_XSLEEP)
	return profile_change(iface, POWER_PROFILE_REGISTERED, false);
#elif defined(CONFIG_HOST_POWER_PROFILE_PSM)
	return profile_change(iface, POWER_PROFILE_PSM, false);
#else
	LOG_INF("Host power profile: unchanged; runtime command available");
	return 0;
#endif
}

bool host_power_profile_suspends_between_cycles(void)
{
	return IS_ENABLED(CONFIG_HOST_POWER_PROFILE_XSLEEP);
}

void host_power_profile_network_lock(void)
{
	k_mutex_lock(&network_mutex, K_FOREVER);
}

void host_power_profile_network_unlock(void)
{
	k_mutex_unlock(&network_mutex);
}

static int profile_shell(const struct shell *shell, size_t argc, char **argv)
{
	struct net_if *iface = net_if_get_first_by_type(&NET_L2_GET_NAME(PPP));
	enum power_profile profile;
	int ret;

	ARG_UNUSED(argc);

	if (iface == NULL) {
		shell_error(shell, "PPP interface not found");
		return -ENODEV;
	}
	if (strcmp(argv[1], "registered") == 0) {
		profile = POWER_PROFILE_REGISTERED;
	} else if (strcmp(argv[1], "psm") == 0) {
		profile = POWER_PROFILE_PSM;
	} else if (strcmp(argv[1], "edrx") == 0) {
		profile = POWER_PROFILE_EDRX;
	} else if (strcmp(argv[1], "psm_edrx") == 0) {
		profile = POWER_PROFILE_PSM_EDRX;
	} else if (strcmp(argv[1], "status") == 0) {
		shell_print(shell, "Requested profile: %s", profile_name(active_profile));
		return 0;
	} else {
		shell_error(shell, "Use registered, psm, edrx, psm_edrx, or status");
		return -EINVAL;
	}

	shell_print(shell, "Switching to %s; PPP will disconnect and reconnect",
		    profile_name(profile));
	ret = profile_change(iface, profile, true);
	if (ret < 0) {
		shell_error(shell, "Profile switch failed: %d", ret);
		return ret;
	}
	shell_print(shell, "Profile %s accepted; PPP restart initiated",
		    profile_name(profile));
	return 0;
}

SHELL_CMD_ARG_REGISTER(power_profile, NULL,
		       "Runtime profile: power_profile <registered|psm|edrx|psm_edrx|status>",
		       profile_shell, 2, 0);
```

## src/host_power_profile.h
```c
/*
 * Copyright (c) 2026 Nordic Semiconductor ASA
 *
 * SPDX-License-Identifier: LicenseRef-Nordic-5-Clause
 */

#ifndef HOST_POWER_PROFILE_H_
#define HOST_POWER_PROFILE_H_

#include <stdbool.h>
#include <zephyr/net/net_if.h>

int host_power_profile_apply(struct net_if *iface);
bool host_power_profile_suspends_between_cycles(void);
void host_power_profile_network_lock(void);
void host_power_profile_network_unlock(void);

#endif /* HOST_POWER_PROFILE_H_ */
```

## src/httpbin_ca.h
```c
/* Amazon Root CA 1 (DER), from the system CA store. See README.md. */
static const unsigned char httpbin_ca[] = {
    0x30, 0x82, 0x03, 0x41, 0x30, 0x82, 0x02, 0x29, 0xa0, 0x03, 0x02, 0x01,
    0x02, 0x02, 0x13, 0x06, 0x6c, 0x9f, 0xcf, 0x99, 0xbf, 0x8c, 0x0a, 0x39,
    0xe2, 0xf0, 0x78, 0x8a, 0x43, 0xe6, 0x96, 0x36, 0x5b, 0xca, 0x30, 0x0d,
    0x06, 0x09, 0x2a, 0x86, 0x48, 0x86, 0xf7, 0x0d, 0x01, 0x01, 0x0b, 0x05,
    0x00, 0x30, 0x39, 0x31, 0x0b, 0x30, 0x09, 0x06, 0x03, 0x55, 0x04, 0x06,
    0x13, 0x02, 0x55, 0x53, 0x31, 0x0f, 0x30, 0x0d, 0x06, 0x03, 0x55, 0x04,
    0x0a, 0x13, 0x06, 0x41, 0x6d, 0x61, 0x7a, 0x6f, 0x6e, 0x31, 0x19, 0x30,
    0x17, 0x06, 0x03, 0x55, 0x04, 0x03, 0x13, 0x10, 0x41, 0x6d, 0x61, 0x7a,
    0x6f, 0x6e, 0x20, 0x52, 0x6f, 0x6f, 0x74, 0x20, 0x43, 0x41, 0x20, 0x31,
    0x30, 0x1e, 0x17, 0x0d, 0x31, 0x35, 0x30, 0x35, 0x32, 0x36, 0x30, 0x30,
    0x30, 0x30, 0x30, 0x30, 0x5a, 0x17, 0x0d, 0x33, 0x38, 0x30, 0x31, 0x31,
    0x37, 0x30, 0x30, 0x30, 0x30, 0x30, 0x30, 0x5a, 0x30, 0x39, 0x31, 0x0b,
    0x30, 0x09, 0x06, 0x03, 0x55, 0x04, 0x06, 0x13, 0x02, 0x55, 0x53, 0x31,
    0x0f, 0x30, 0x0d, 0x06, 0x03, 0x55, 0x04, 0x0a, 0x13, 0x06, 0x41, 0x6d,
    0x61, 0x7a, 0x6f, 0x6e, 0x31, 0x19, 0x30, 0x17, 0x06, 0x03, 0x55, 0x04,
    0x03, 0x13, 0x10, 0x41, 0x6d, 0x61, 0x7a, 0x6f, 0x6e, 0x20, 0x52, 0x6f,
    0x6f, 0x74, 0x20, 0x43, 0x41, 0x20, 0x31, 0x30, 0x82, 0x01, 0x22, 0x30,
    0x0d, 0x06, 0x09, 0x2a, 0x86, 0x48, 0x86, 0xf7, 0x0d, 0x01, 0x01, 0x01,
    0x05, 0x00, 0x03, 0x82, 0x01, 0x0f, 0x00, 0x30, 0x82, 0x01, 0x0a, 0x02,
    0x82, 0x01, 0x01, 0x00, 0xb2, 0x78, 0x80, 0x71, 0xca, 0x78, 0xd5, 0xe3,
    0x71, 0xaf, 0x47, 0x80, 0x50, 0x74, 0x7d, 0x6e, 0xd8, 0xd7, 0x88, 0x76,
    0xf4, 0x99, 0x68, 0xf7, 0x58, 0x21, 0x60, 0xf9, 0x74, 0x84, 0x01, 0x2f,
    0xac, 0x02, 0x2d, 0x86, 0xd3, 0xa0, 0x43, 0x7a, 0x4e, 0xb2, 0xa4, 0xd0,
    0x36, 0xba, 0x01, 0xbe, 0x8d, 0xdb, 0x48, 0xc8, 0x07, 0x17, 0x36, 0x4c,
    0xf4, 0xee, 0x88, 0x23, 0xc7, 0x3e, 0xeb, 0x37, 0xf5, 0xb5, 0x19, 0xf8,
    0x49, 0x68, 0xb0, 0xde, 0xd7, 0xb9, 0x76, 0x38, 0x1d, 0x61, 0x9e, 0xa4,
    0xfe, 0x82, 0x36, 0xa5, 0xe5, 0x4a, 0x56, 0xe4, 0x45, 0xe1, 0xf9, 0xfd,
    0xb4, 0x16, 0xfa, 0x74, 0xda, 0x9c, 0x9b, 0x35, 0x39, 0x2f, 0xfa, 0xb0,
    0x20, 0x50, 0x06, 0x6c, 0x7a, 0xd0, 0x80, 0xb2, 0xa6, 0xf9, 0xaf, 0xec,
    0x47, 0x19, 0x8f, 0x50, 0x38, 0x07, 0xdc, 0xa2, 0x87, 0x39, 0x58, 0xf8,
    0xba, 0xd5, 0xa9, 0xf9, 0x48, 0x67, 0x30, 0x96, 0xee, 0x94, 0x78, 0x5e,
    0x6f, 0x89, 0xa3, 0x51, 0xc0, 0x30, 0x86, 0x66, 0xa1, 0x45, 0x66, 0xba,
    0x54, 0xeb, 0xa3, 0xc3, 0x91, 0xf9, 0x48, 0xdc, 0xff, 0xd1, 0xe8, 0x30,
    0x2d, 0x7d, 0x2d, 0x74, 0x70, 0x35, 0xd7, 0x88, 0x24, 0xf7, 0x9e, 0xc4,
    0x59, 0x6e, 0xbb, 0x73, 0x87, 0x17, 0xf2, 0x32, 0x46, 0x28, 0xb8, 0x43,
    0xfa, 0xb7, 0x1d, 0xaa, 0xca, 0xb4, 0xf2, 0x9f, 0x24, 0x0e, 0x2d, 0x4b,
    0xf7, 0x71, 0x5c, 0x5e, 0x69, 0xff, 0xea, 0x95, 0x02, 0xcb, 0x38, 0x8a,
    0xae, 0x50, 0x38, 0x6f, 0xdb, 0xfb, 0x2d, 0x62, 0x1b, 0xc5, 0xc7, 0x1e,
    0x54, 0xe1, 0x77, 0xe0, 0x67, 0xc8, 0x0f, 0x9c, 0x87, 0x23, 0xd6, 0x3f,
    0x40, 0x20, 0x7f, 0x20, 0x80, 0xc4, 0x80, 0x4c, 0x3e, 0x3b, 0x24, 0x26,
    0x8e, 0x04, 0xae, 0x6c, 0x9a, 0xc8, 0xaa, 0x0d, 0x02, 0x03, 0x01, 0x00,
    0x01, 0xa3, 0x42, 0x30, 0x40, 0x30, 0x0f, 0x06, 0x03, 0x55, 0x1d, 0x13,
    0x01, 0x01, 0xff, 0x04, 0x05, 0x30, 0x03, 0x01, 0x01, 0xff, 0x30, 0x0e,
    0x06, 0x03, 0x55, 0x1d, 0x0f, 0x01, 0x01, 0xff, 0x04, 0x04, 0x03, 0x02,
    0x01, 0x86, 0x30, 0x1d, 0x06, 0x03, 0x55, 0x1d, 0x0e, 0x04, 0x16, 0x04,
    0x14, 0x84, 0x18, 0xcc, 0x85, 0x34, 0xec, 0xbc, 0x0c, 0x94, 0x94, 0x2e,
    0x08, 0x59, 0x9c, 0xc7, 0xb2, 0x10, 0x4e, 0x0a, 0x08, 0x30, 0x0d, 0x06,
    0x09, 0x2a, 0x86, 0x48, 0x86, 0xf7, 0x0d, 0x01, 0x01, 0x0b, 0x05, 0x00,
    0x03, 0x82, 0x01, 0x01, 0x00, 0x98, 0xf2, 0x37, 0x5a, 0x41, 0x90, 0xa1,
    0x1a, 0xc5, 0x76, 0x51, 0x28, 0x20, 0x36, 0x23, 0x0e, 0xae, 0xe6, 0x28,
    0xbb, 0xaa, 0xf8, 0x94, 0xae, 0x48, 0xa4, 0x30, 0x7f, 0x1b, 0xfc, 0x24,
    0x8d, 0x4b, 0xb4, 0xc8, 0xa1, 0x97, 0xf6, 0xb6, 0xf1, 0x7a, 0x70, 0xc8,
    0x53, 0x93, 0xcc, 0x08, 0x28, 0xe3, 0x98, 0x25, 0xcf, 0x23, 0xa4, 0xf9,
    0xde, 0x21, 0xd3, 0x7c, 0x85, 0x09, 0xad, 0x4e, 0x9a, 0x75, 0x3a, 0xc2,
    0x0b, 0x6a, 0x89, 0x78, 0x76, 0x44, 0x47, 0x18, 0x65, 0x6c, 0x8d, 0x41,
    0x8e, 0x3b, 0x7f, 0x9a, 0xcb, 0xf4, 0xb5, 0xa7, 0x50, 0xd7, 0x05, 0x2c,
    0x37, 0xe8, 0x03, 0x4b, 0xad, 0xe9, 0x61, 0xa0, 0x02, 0x6e, 0xf5, 0xf2,
    0xf0, 0xc5, 0xb2, 0xed, 0x5b, 0xb7, 0xdc, 0xfa, 0x94, 0x5c, 0x77, 0x9e,
    0x13, 0xa5, 0x7f, 0x52, 0xad, 0x95, 0xf2, 0xf8, 0x93, 0x3b, 0xde, 0x8b,
    0x5c, 0x5b, 0xca, 0x5a, 0x52, 0x5b, 0x60, 0xaf, 0x14, 0xf7, 0x4b, 0xef,
    0xa3, 0xfb, 0x9f, 0x40, 0x95, 0x6d, 0x31, 0x54, 0xfc, 0x42, 0xd3, 0xc7,
    0x46, 0x1f, 0x23, 0xad, 0xd9, 0x0f, 0x48, 0x70, 0x9a, 0xd9, 0x75, 0x78,
    0x71, 0xd1, 0x72, 0x43, 0x34, 0x75, 0x6e, 0x57, 0x59, 0xc2, 0x02, 0x5c,
    0x26, 0x60, 0x29, 0xcf, 0x23, 0x19, 0x16, 0x8e, 0x88, 0x43, 0xa5, 0xd4,
    0xe4, 0xcb, 0x08, 0xfb, 0x23, 0x11, 0x43, 0xe8, 0x43, 0x29, 0x72, 0x62,
    0xa1, 0xa9, 0x5d, 0x5e, 0x08, 0xd4, 0x90, 0xae, 0xb8, 0xd8, 0xce, 0x14,
    0xc2, 0xd0, 0x55, 0xf2, 0x86, 0xf6, 0xc4, 0x93, 0x43, 0x77, 0x66, 0x61,
    0xc0, 0xb9, 0xe8, 0x41, 0xd7, 0x97, 0x78, 0x60, 0x03, 0x6e, 0x4a, 0x72,
    0xae, 0xa5, 0xd1, 0x7d, 0xba, 0x10, 0x9e, 0x86, 0x6c, 0x1b, 0x8a, 0xb9,
    0x59, 0x33, 0xf8, 0xeb, 0xc4, 0x90, 0xbe, 0xf1, 0xb9,
};
```

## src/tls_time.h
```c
/* NCS nrf-config.h does not map MBEDTLS_HAVE_TIME_DATE from Kconfig. */
#ifndef HTTPS_TEST_TLS_TIME_H
#define HTTPS_TEST_TLS_TIME_H
#define MBEDTLS_HAVE_TIME
#define MBEDTLS_HAVE_TIME_DATE
#endif
```

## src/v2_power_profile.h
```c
/*
 * Copyright (c) 2026 Nordic Semiconductor ASA
 *
 * SPDX-License-Identifier: LicenseRef-Nordic-5-Clause
 */

#ifndef V2_POWER_PROFILE_H_
#define V2_POWER_PROFILE_H_

#include <zephyr/net/net_if.h>

int v2_power_profile_apply_initial(struct net_if *iface);
void v2_power_profile_report_network(void);
void v2_power_profile_network_lock(void);
void v2_power_profile_network_unlock(void);

#endif /* V2_POWER_PROFILE_H_ */
```
